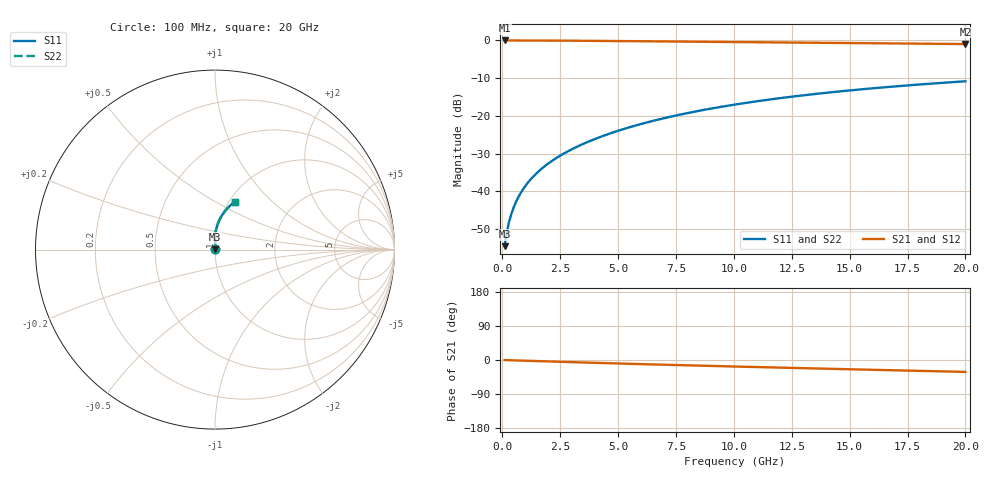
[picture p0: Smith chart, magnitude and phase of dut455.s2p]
! Touchstone file exported from HFSS 2024.1.0
!  File:  C:/UserFiles/LocalFiles/RDL_TSV_Batchsim/temp_RDL_bottom_455_1779685268.aedt
!  Generated:  01:03:43 PM May 25, 2026
!  Design:  RDL_bottom
!  Project:  temp_RDL_bottom_455_1779685268
!  Setup:  Setup1
!  Solution:  Sweep
! Variables:
!  dtsv = 10.80580581um
!  hbump = 3um
!  htsv = 89.49um
!  ldown = 426.41um
!  lrdl = 100um
!  p = 40
!  p1 = 59.46um
!  rhole = 1um
!  t = 450um
!  tdown = 4.63um
!  trdl = 3.915915916um
!  wdown = 28um
!  wrdl = 20um
# GHz S MA R 50.000000
! Terminal data exported
! Port[1] = RDL1_T1
! Port[2] = RDL1_T2
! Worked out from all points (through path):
!   200 points, 100 MHz to 20 GHz, reference 50 ohm
!   highest |S21| = -0.01 dB at 100 MHz (marker M1); lowest = -1.0 dB at 20 GHz (marker M2)
!   group delay of S21, straight-line fit = 4.3 ps
!   lowest |S11| = -54.5 dB at 100 MHz (marker M3), VSWR 1.00, Z = 50.1 + j0.13 ohm
!   |S11| at or under -10 dB: start of sweep to end of sweep
!   |S22| runs from -54.5 to -10.8 dB; largest |S21 - S12| = 2.3e-15
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0.1  0.001883 43.5  0.9986 -0.2  0.9986 -0.2  0.001883 43.5
! Gamma 0 0 0 0
! Port Impedance 50 0 50 0
0.2  0.002925 60.2  0.9985 -0.4  0.9985 -0.4  0.002925 60.2
0.3  0.00403 67.6  0.9984 -0.6  0.9984 -0.6  0.004031 67.6
0.4  0.005135 71.8  0.9982 -0.8  0.9982 -0.8  0.005135 71.8
0.5  0.006238 74.8  0.9981 -1.0  0.9981 -1.0  0.006238 74.8
0.6  0.007345 77.0  0.998 -1.2  0.998 -1.2  0.007345 77.0
0.8  0.009579 80.1  0.9977 -1.6  0.9977 -1.6  0.009579 80.1
1.1  0.01299 83.1  0.9972 -2.1  0.9972 -2.1  0.01299 83.1
1.5  0.01764 85.6  0.9963 -2.9  0.9963 -2.9  0.01764 85.6
1.8  0.0212 86.8  0.9954 -3.5  0.9954 -3.5  0.0212 86.8
2.1  0.02483 87.7  0.9945 -4.0  0.9945 -4.0  0.02483 87.7
2.7  0.03229 89.0  0.9922 -5.1  0.9922 -5.1  0.03229 89.0
3.5  0.04269 89.9  0.9886 -6.6  0.9886 -6.6  0.04268 89.9
4.2  0.05221 90.3  0.9851 -7.8  0.9851 -7.8  0.0522 90.2
5  0.06355 90.2  0.9807 -9.2  0.9807 -9.2  0.06354 90.1
6.8  0.09046 88.8  0.9702 -12.2  0.9702 -12.2  0.09044 88.8
8.4  0.1154 86.7  0.9608 -14.7  0.9608 -14.7  0.1154 86.7
10.1  0.1422 84.1  0.9509 -17.3  0.9509 -17.3  0.1422 84.1
11.7  0.1673 81.5  0.9418 -19.7  0.9418 -19.7  0.1673 81.4
13.4  0.1936 78.6  0.9322 -22.2  0.9322 -22.2  0.1935 78.5
16.7  0.2423 73.0  0.9136 -26.9  0.9136 -26.9  0.2422 73.0
20  0.2874 67.7  0.895 -31.4  0.895 -31.4  0.2873 67.7
